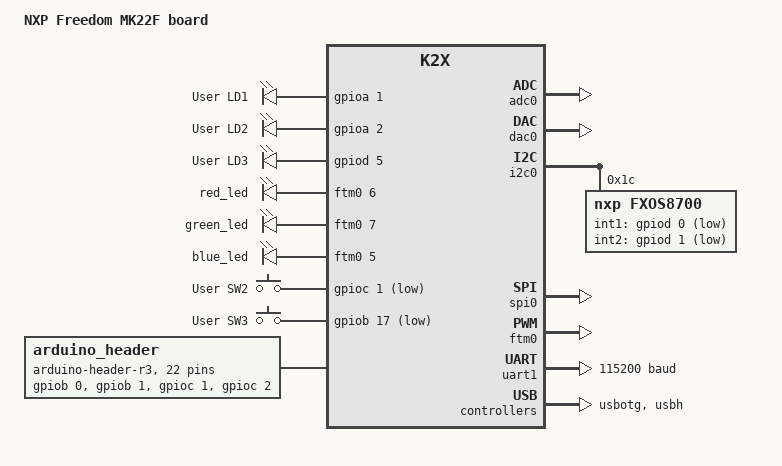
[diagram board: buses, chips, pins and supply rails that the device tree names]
/*
 * Copyright (c) 2018 Prevas A/S
 * Copyright 2024 NXP
 *
 * SPDX-License-Identifier: Apache-2.0
 */

/dts-v1/;

#include <nxp/nxp_k22fn512.dtsi>
#include <zephyr/dt-bindings/pwm/pwm.h>
#include "frdm_k22f-pinctrl.dtsi"
#include <zephyr/dt-bindings/gpio/arduino-header-r3.h>
#include <zephyr/dt-bindings/input/input-event-codes.h>

/ {
	model = "NXP Freedom MK22F board";
	compatible = "nxp,mk22f12", "nxp,k22f", "nxp,k2x";

	aliases {
		led0 = &green_led;
		led1 = &blue_led;
		led2 = &red_led;
		sw0 = &user_button_3;
		sw1 = &user_button_2;
		pwm-led0 = &green_pwm_led;
		green-pwm-led = &green_pwm_led;
		blue-pwm-led = &blue_pwm_led;
		red-pwm-led = &red_pwm_led;
		magn0 = &fxos8700;
		accel0 = &fxos8700;
		mcuboot-button0 = &user_button_3;
	};

	chosen {
		zephyr,sram = &sram0;
		zephyr,flash = &flash0;
		zephyr,code-partition = &slot0_partition;
		zephyr,uart-mcumgr = &uart1;
		zephyr,console = &uart1;
		zephyr,shell-uart = &uart1;
		zephyr,uart-pipe = &uart1;
	};

	leds {
		compatible = "gpio-leds";
		red_led: led_0 {
			gpios = <&gpioa 1 0>;
			label = "User LD1";
		};
		green_led: led_1 {
			gpios = <&gpioa 2 0>;
			label = "User LD2";
		};
		blue_led: led_2 {
			gpios = <&gpiod 5 0>;
			label = "User LD3";
		};
	};

	pwmleds {
		compatible = "pwm-leds";

		red_pwm_led: red_pwm_led {
			label = "red_led";
			pwms = <&ftm0 6 15625000 PWM_POLARITY_INVERTED>;
		};
		green_pwm_led: green_pwm_led {
			label = "green_led";
			pwms = <&ftm0 7 15625000 PWM_POLARITY_INVERTED>;
		};
		blue_pwm_led: blue_pwm_led {
			label = "blue_led";
			pwms = <&ftm0 5 15625000 PWM_POLARITY_INVERTED>;
		};
	};

	gpio_keys {
		compatible = "gpio-keys";
		user_button_2: button_0 {
			label = "User SW2";
			gpios = <&gpioc 1 GPIO_ACTIVE_LOW>;
			zephyr,code = <INPUT_KEY_0>;
		};
		user_button_3: button_1 {
			label = "User SW3";
			gpios = <&gpiob 17 GPIO_ACTIVE_LOW>;
			zephyr,code = <INPUT_KEY_1>;
		};
	};

	arduino_header: connector {
		compatible = "arduino-header-r3";
		#gpio-cells = <2>;
		gpio-map-mask = <0xffffffff 0xffffffc0>;
		gpio-map-pass-thru = <0 0x3f>;
		gpio-map = <ARDUINO_HEADER_R3_A0 0 &gpiob 0 0>,
			   <ARDUINO_HEADER_R3_A1 0 &gpiob 1 0>,
			   <ARDUINO_HEADER_R3_A2 0 &gpioc 1 0>,
			   <ARDUINO_HEADER_R3_A3 0 &gpioc 2 0>,
			   <ARDUINO_HEADER_R3_A4 0 &gpiob 3 0>,
			   <ARDUINO_HEADER_R3_A5 0 &gpiob 2 0>,
			   <ARDUINO_HEADER_R3_D0 0 &gpiod 2 0>,
			   <ARDUINO_HEADER_R3_D1 0 &gpiod 3 0>,
			   <ARDUINO_HEADER_R3_D2 0 &gpiob 16 0>,
			   <ARDUINO_HEADER_R3_D3 0 &gpioa 2 0>,
			   <ARDUINO_HEADER_R3_D4 0 &gpioa 4 0>,
			   <ARDUINO_HEADER_R3_D5 0 &gpiob 18 0>,
			   <ARDUINO_HEADER_R3_D6 0 &gpioc 3 0>,
			   <ARDUINO_HEADER_R3_D7 0 &gpioc 6 0>,
			   <ARDUINO_HEADER_R3_D8 0 &gpiob 19 0>,
			   <ARDUINO_HEADER_R3_D9 0 &gpioa 1 0>,
			   <ARDUINO_HEADER_R3_D10 0 &gpiod 4 0>,
			   <ARDUINO_HEADER_R3_D11 0 &gpiod 6 0>,
			   <ARDUINO_HEADER_R3_D12 0 &gpiod 7 0>,
			   <ARDUINO_HEADER_R3_D13 0 &gpiod 5 0>,
			   <ARDUINO_HEADER_R3_D14 0 &gpioe 0 0>,
			   <ARDUINO_HEADER_R3_D15 0 &gpioe 1 0>;
	};
};

&sim {
	pllfll-select = <KINETIS_SIM_PLLFLLSEL_MCGPLLCLK>;
	er32k-select = <KINETIS_SIM_ER32KSEL_RTC>;
};

&adc0 {
	status = "okay";
};

&dac0 {
	status = "okay";
	voltage-reference = <2>;
};
arduino_i2c: &i2c0 {
	status = "okay";
	pinctrl-0 = <&i2c0_default>;
	pinctrl-names = "default";

	fxos8700: fxos8700@1c {
		compatible = "nxp,fxos8700";
		reg = <0x1c>;
		int1-gpios = <&gpiod 0 GPIO_ACTIVE_LOW>;
		int2-gpios = <&gpiod 1 GPIO_ACTIVE_LOW>;
	};
};


arduino_spi: &spi0 {
	status = "okay";
	pinctrl-0 = <&spi0_default>;
	pinctrl-names = "default";
};

&ftm0 {
	status = "okay";
	compatible = "nxp,ftm-pwm";
	#pwm-cells = <3>;
	pinctrl-0 = <&ftm0_default>;
	pinctrl-names = "default";
	clock-source = "fixed";
};

&uart1 {
	status = "okay";
	current-speed = <115200>;
	pinctrl-0 = <&uart1_default>;
	pinctrl-names = "default";
};

&uart2 {
	pinctrl-0 = <&uart2_default>;
	pinctrl-names = "default";
};

zephyr_udc0: &usbotg {
	compatible = "nxp,kinetis-usbd";
	status = "okay";
	num-bidir-endpoints = <8>;
};

zephyr_uhc0: &usbh {
	status = "okay";
};

&gpioa {
	status = "okay";
};

&gpiob {
	status = "okay";
};

&gpioc {
	status = "okay";
};

&gpiod {
	status = "okay";
};

&gpioe {
	status = "okay";
};

&flash0 {
	partitions {
		compatible = "fixed-partitions";
		#address-cells = <1>;
		#size-cells = <1>;

		/*
		 * Partition sizes must be aligned
		 * to the flash memory sector size of 2KB.
		 */
		boot_partition: partition@0 {
			label = "mcuboot";
			reg = <0x00000000 DT_SIZE_K(64)>;
			read-only;
		};
		slot0_partition: partition@10000 {
			label = "image-0";
			reg = <0x00010000 DT_SIZE_K(182)>;
		};
		slot1_partition: partition@3D800 {
			label = "image-1";
			reg = <0x0003D800 DT_SIZE_K(182)>;
		};
		storage_partition: partition@6B000 {
			label = "storage";
			reg = <0x0006B000 DT_SIZE_K(84)>;
		};

	};
};
